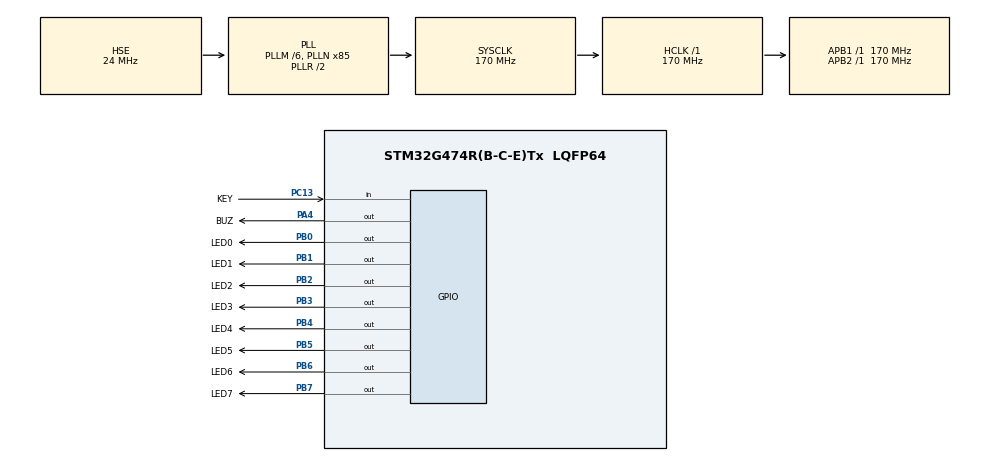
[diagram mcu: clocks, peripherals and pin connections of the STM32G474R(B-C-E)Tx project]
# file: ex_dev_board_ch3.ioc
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Mcu.Family=STM32G4
RCC.CortexFreq_Value=170000000
PB2.GPIO_Speed=GPIO_SPEED_FREQ_HIGH
PB0.GPIO_Label=LED0
PB6.GPIO_Label=LED6
PC13.GPIO_Label=KEY
PB3.GPIO_Speed=GPIO_SPEED_FREQ_HIGH
RCC.SYSCLKSource=RCC_SYSCLKSOURCE_PLLCLK
ProjectManager.StackSize=0x400
PB0.PinState=GPIO_PIN_SET
PB3.PinState=GPIO_PIN_SET
PB1.GPIO_PuPd=GPIO_PULLUP
RCC.HCLKFreq_Value=170000000
RCC.APB2TimFreq_Value=170000000
PB6.Signal=GPIO_Output
PB5.PinState=GPIO_PIN_SET
RCC.AHBFreq_Value=170000000
RCC.HSE_VALUE=24000000
PA4.GPIO_PuPd=GPIO_PULLUP
PB2.Signal=GPIO_Output
RCC.ADC12Freq_Value=170000000
PA4.GPIO_Speed=GPIO_SPEED_FREQ_HIGH
PB3.GPIO_PuPd=GPIO_PULLUP
PB1.GPIO_Speed=GPIO_SPEED_FREQ_HIGH
PA14.Mode=Serial_Wire
PB1.GPIO_Label=LED1
PC13.GPIO_PuPd=GPIO_PULLDOWN
VP_SYS_VS_DBSignals.Mode=DisableDeadBatterySignals
PB7.Signal=GPIO_Output
PB2.GPIO_PuPd=GPIO_PULLUP
PB7.PinState=GPIO_PIN_SET
PB1.PinState=GPIO_PIN_SET
PB7.GPIO_Label=LED7
Mcu.Package=LQFP64
PB1.Signal=GPIO_Output
PB6.GPIO_ModeDefaultOutputPP=GPIO_MODE_OUTPUT_PP
PB5.GPIO_Speed=GPIO_SPEED_FREQ_HIGH
PB5.GPIO_Label=LED5
RCC.APB1TimFreq_Value=170000000
PB0.GPIO_ModeDefaultOutputPP=GPIO_MODE_OUTPUT_PP
PF1-OSC_OUT.Mode=HSE-External-Oscillator
PB2.GPIO_ModeDefaultOutputPP=GPIO_MODE_OUTPUT_PP
PB4.PinState=GPIO_PIN_SET
PA4.GPIO_Label=BUZ
PF1-OSC_OUT.Signal=RCC_OSC_OUT
RCC.HSI48_VALUE=48000000
PB4.Signal=GPIO_Output
PB4.GPIO_ModeDefaultOutputPP=GPIO_MODE_OUTPUT_PP
PB7.GPIO_Speed=GPIO_SPEED_FREQ_HIGH
PB3.GPIO_Label=LED3
PB7.GPIO_PuPd=GPIO_PULLUP
RCC.PLLSourceVirtual=RCC_PLLSOURCE_HSE
PB5.GPIO_ModeDefaultOutputPP=GPIO_MODE_OUTPUT_PP
PC13.Signal=GPIO_Input
PB6.GPIO_PuPd=GPIO_PULLUP
RCC.EXTERNAL_CLOCK_VALUE=12288000
PB0.GPIO_Speed=GPIO_SPEED_FREQ_HIGH
PA13.Signal=SYS_JTMS-SWDIO
PA4.PinState=GPIO_PIN_SET
ProjectManager.TargetToolchain=STM32CubeIDE
PB4.GPIO_PuPd=GPIO_PULLUP
RCC.USBFreq_Value=170000000
RCC.LSE_VALUE=32768
PF0-OSC_IN.Mode=HSE-External-Oscillator
board=custom
RCC.VCOOutputFreq_Value=340000000
RCC.ADC345Freq_Value=170000000
PB4.GPIO_Speed=GPIO_SPEED_FREQ_HIGH
RCC.APB2Freq_Value=170000000
PB4.GPIO_Label=LED4
PB7.GPIO_ModeDefaultOutputPP=GPIO_MODE_OUTPUT_PP
PA13.Mode=Serial_Wire
PB2.PinState=GPIO_PIN_SET
Mcu.Name=STM32G474R(B-C-E)Tx
PB3.Signal=GPIO_Output
PA4.Signal=GPIO_Output
RCC.SYSCLKFreq_VALUE=170000000
PB5.Signal=GPIO_Output
PB5.GPIO_PuPd=GPIO_PULLUP
PB6.PinState=GPIO_PIN_SET
PA14.Signal=SYS_JTCK-SWCLK
PB2.GPIO_Label=LED2
ProjectManager.HeapSize=0x200
RCC.HSI_VALUE=16000000
NVIC.PriorityGroup=NVIC_PRIORITYGROUP_4
RCC.PLLM=RCC_PLLM_DIV6
RCC.PLLN=85
PB1.GPIO_ModeDefaultOutputPP=GPIO_MODE_OUTPUT_PP
PF0-OSC_IN.Signal=RCC_OSC_IN
PB6.GPIO_Speed=GPIO_SPEED_FREQ_HIGH
RCC.APB1Freq_Value=170000000
PB0.Signal=GPIO_Output
PB0.GPIO_PuPd=GPIO_PULLUP
PB3.GPIO_ModeDefaultOutputPP=GPIO_MODE_OUTPUT_PP

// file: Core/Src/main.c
/* USER CODE BEGIN Header */
/**
  ******************************************************************************
  * @file           : main.c
  * @brief          : Main program body
  ******************************************************************************
  * @attention
  *
  * <h2><center>&copy; Copyright (c) 2022 STMicroelectronics.
  * All rights reserved.</center></h2>
  *
  * This software component is licensed by ST under BSD 3-Clause license,
  * the "License"; You may not use this file except in compliance with the
  * License. You may obtain a copy of the License at:
  *                        opensource.org/licenses/BSD-3-Clause
  *
  ******************************************************************************
  */
/* USER CODE END Header */
#include "main.h"

void SystemClock_Config(void);
static void MX_GPIO_Init(void);
void show_times(uint16_t key_time);

int main(void)
{
  /* USER CODE BEGIN 1 */
//	GPIO_PinState KEY;
	HAL_GPIO_WritePin(GPIOB, 0xff, GPIO_PIN_SET);
	HAL_GPIO_WritePin(BUZ_GPIO_Port, BUZ_Pin, GPIO_PIN_SET);

  /* USER CODE END 1 */

  /* MCU Configuration--------------------------------------------------------*/

  /* Reset of all peripherals, Initializes the Flash interface and the Systick. */
  HAL_Init();

  /* Configure the system clock */
  SystemClock_Config();

  /* Initialize all configured peripherals */
  MX_GPIO_Init();

  /* Infinite loop */
  while (1)
  {

    /* USER CODE BEGIN 3 */
	  // 3.3
//	  if (HAL_GPIO_ReadPin(KEY_GPIO_Port, KEY_Pin) == GPIO_PIN_SET){
//		  HAL_GPIO_TogglePin(BUZ_GPIO_Port, BUZ_Pin);
//		  HAL_Delay(500);
//	  }
//	  else {
//		  HAL_GPIO_WritePin(BUZ_GPIO_Port, BUZ_Pin, GPIO_PIN_SET);
//	  }

	  // 3.4
//	  uint8_t led_num = 0x01;
//	  uint8_t i = 0;
//
//	  for (i=0;i<8;i++)
//	  {
//	  	  HAL_GPIO_TogglePin(GPIOB,led_num);
//	  	  if (HAL_GPIO_ReadPin(KEY_GPIO_Port, KEY_Pin) == GPIO_PIN_SET){
//	  		  HAL_Delay(100);
//	  	  }
//	  	  else {
//	  		  HAL_Delay(500);
//	  	  }
//	  	  led_num <<= 1;
//
//	  }

	  // 3.5
	  uint16_t key_time = 0;
	  while(1){
		  if (HAL_GPIO_ReadPin(KEY_GPIO_Port, KEY_Pin) == GPIO_PIN_SET){
		  while (HAL_GPIO_ReadPin(KEY_GPIO_Port, KEY_Pin) == GPIO_PIN_SET){
			  HAL_Delay(10);
//			  HAL_GPIO_WritePin(BUZ_GPIO_Port, BUZ_Pin, GPIO_PIN_RESET);
		  }
		  key_time ++;
		  }

		  uint32_t k = 0;
		  while (HAL_GPIO_ReadPin(KEY_GPIO_Port, KEY_Pin) == GPIO_PIN_RESET){
			  HAL_Delay(10);
			  ++k;
			  if (k > 100 && key_time > 0){
				  show_times(key_time);
				  key_time = 0;
				  break;
			  }
		  }
	  }

  }
  /* USER CODE END 3 */
}

void SystemClock_Config(void)
{
  RCC_OscInitTypeDef RCC_OscInitStruct = {0};
  RCC_ClkInitTypeDef RCC_ClkInitStruct = {0};

  /** Configure the main internal regulator output voltage
  */
  HAL_PWREx_ControlVoltageScaling(PWR_REGULATOR_VOLTAGE_SCALE1_BOOST);
  /** Initializes the RCC Oscillators according to the specified parameters
  * in the RCC_OscInitTypeDef structure.
  */
  RCC_OscInitStruct.OscillatorType = RCC_OSCILLATORTYPE_HSE;
  RCC_OscInitStruct.HSEState = RCC_HSE_ON;
  RCC_OscInitStruct.PLL.PLLState = RCC_PLL_ON;
  RCC_OscInitStruct.PLL.PLLSource = RCC_PLLSOURCE_HSE;
  RCC_OscInitStruct.PLL.PLLM = RCC_PLLM_DIV6;
  RCC_OscInitStruct.PLL.PLLN = 85;
  RCC_OscInitStruct.PLL.PLLP = RCC_PLLP_DIV2;
  RCC_OscInitStruct.PLL.PLLQ = RCC_PLLQ_DIV2;
  RCC_OscInitStruct.PLL.PLLR = RCC_PLLR_DIV2;
  if (HAL_RCC_OscConfig(&RCC_OscInitStruct) != HAL_OK)
  {
    Error_Handler();
  }
  /** Initializes the CPU, AHB and APB buses clocks
  */
  RCC_ClkInitStruct.ClockType = RCC_CLOCKTYPE_HCLK|RCC_CLOCKTYPE_SYSCLK
                              |RCC_CLOCKTYPE_PCLK1|RCC_CLOCKTYPE_PCLK2;
  RCC_ClkInitStruct.SYSCLKSource = RCC_SYSCLKSOURCE_PLLCLK;
  RCC_ClkInitStruct.AHBCLKDivider = RCC_SYSCLK_DIV1;
  RCC_ClkInitStruct.APB1CLKDivider = RCC_HCLK_DIV1;
  RCC_ClkInitStruct.APB2CLKDivider = RCC_HCLK_DIV1;

  if (HAL_RCC_ClockConfig(&RCC_ClkInitStruct, FLASH_LATENCY_4) != HAL_OK)
  {
    Error_Handler();
  }
}

static void MX_GPIO_Init(void)
{
  GPIO_InitTypeDef GPIO_InitStruct = {0};

  /* GPIO Ports Clock Enable */
  __HAL_RCC_GPIOC_CLK_ENABLE();
  __HAL_RCC_GPIOF_CLK_ENABLE();
  __HAL_RCC_GPIOA_CLK_ENABLE();
  __HAL_RCC_GPIOB_CLK_ENABLE();

  /*Configure GPIO pin Output Level */
  HAL_GPIO_WritePin(BUZ_GPIO_Port, BUZ_Pin, GPIO_PIN_SET);

  /*Configure GPIO pin Output Level */
  HAL_GPIO_WritePin(GPIOB, LED0_Pin|LED1_Pin|LED2_Pin|LED3_Pin
                          |LED4_Pin|LED5_Pin|LED6_Pin|LED7_Pin, GPIO_PIN_SET);

  /*Configure GPIO pin : KEY_Pin */
  GPIO_InitStruct.Pin = KEY_Pin;
  GPIO_InitStruct.Mode = GPIO_MODE_INPUT;
  GPIO_InitStruct.Pull = GPIO_PULLDOWN;
  HAL_GPIO_Init(KEY_GPIO_Port, &GPIO_InitStruct);

  /*Configure GPIO pin : BUZ_Pin */
  GPIO_InitStruct.Pin = BUZ_Pin;
  GPIO_InitStruct.Mode = GPIO_MODE_OUTPUT_PP;
  GPIO_InitStruct.Pull = GPIO_PULLUP;
  GPIO_InitStruct.Speed = GPIO_SPEED_FREQ_HIGH;
  HAL_GPIO_Init(BUZ_GPIO_Port, &GPIO_InitStruct);

  /*Configure GPIO pins : LED0_Pin LED1_Pin LED2_Pin LED3_Pin
                           LED4_Pin LED5_Pin LED6_Pin LED7_Pin */
  GPIO_InitStruct.Pin = LED0_Pin|LED1_Pin|LED2_Pin|LED3_Pin
                          |LED4_Pin|LED5_Pin|LED6_Pin|LED7_Pin;
  GPIO_InitStruct.Mode = GPIO_MODE_OUTPUT_PP;
  GPIO_InitStruct.Pull = GPIO_PULLUP;
  GPIO_InitStruct.Speed = GPIO_SPEED_FREQ_HIGH;
  HAL_GPIO_Init(GPIOB, &GPIO_InitStruct);

}

/* USER CODE BEGIN 4 */
void show_times(uint16_t key_time){
	HAL_GPIO_WritePin(GPIOB, (uint8_t)key_time, GPIO_PIN_RESET);
	for (int j = 0; j < key_time; ++j)
	{
		HAL_GPIO_WritePin(BUZ_GPIO_Port, BUZ_Pin, GPIO_PIN_RESET);
		HAL_Delay(100);
		HAL_GPIO_WritePin(BUZ_GPIO_Port, BUZ_Pin, GPIO_PIN_SET);
		HAL_Delay(100);
	}
	HAL_GPIO_WritePin(GPIOB, (uint8_t)key_time, GPIO_PIN_SET);
}
/* USER CODE END 4 */

void Error_Handler(void)
{
  __disable_irq();
  while (1)
  {
  }
}

/************************ (C) COPYRIGHT STMicroelectronics *****END OF FILE****/
